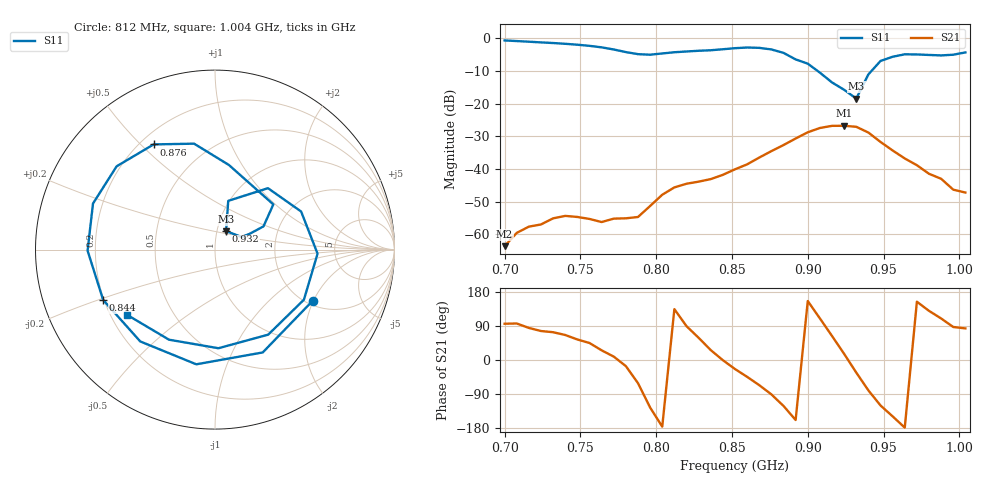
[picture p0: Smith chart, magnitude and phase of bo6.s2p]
# Hz S RI R 50
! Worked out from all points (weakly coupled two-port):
!   39 points, 700 MHz to 1.004 GHz, reference 50 ohm
!   highest |S21| = -26.76 dB at 924 MHz (marker M1); lowest = -63.6 dB at 700 MHz (marker M2)
!   lowest |S11| = -18.4 dB at 932 MHz (marker M3), VSWR 1.27, Z = 55.3 + j11.6 ohm
!   |S11| at or under -10 dB: 906.6 MHz to 942 MHz (35.34 MHz wide, 3.82 % of centre)
!   S12 and S22 are empty: the file has one direction only
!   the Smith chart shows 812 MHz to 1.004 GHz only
!   S11 on the Smith chart (normalised r, x): 812 MHz: 2.16, -1.98; 844 MHz: 0.20, -0.21; 876 MHz: 0.25, +0.55; 932 MHz: 1.11, +0.23; 1.004 GHz: 0.27, -0.31
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7e8  0.7668 0.5295  -6.53e-05 0.000655  0 0  0 0
7.24e8  0.8299 -0.2618  0.000331 0.00138  0 0  0 0
7.4e8  0.4436 -0.6995  0.000779 0.00175  0 0  0 0
7.56e8  -0.1952 -0.7456  0.00122 0.00121  0 0  0 0
7.72e8  -0.6497 -0.193  0.00172 0.00027  0 0  0 0
7.8e8  -0.5755 0.2257  0.00169 -0.000488  0 0  0 0
7.88e8  -0.2314 0.5263  0.000889 -0.00161  0 0  0 0
7.96e8  0.2461 0.5073  -0.00157 -0.00221  0 0  0 0
8.04e8  0.5665 0.1612  -0.00403 -0.00029  0 0  0 0
8.12e8  0.5448 -0.2846  -0.00365 0.00375  0 0  0 0
8.28e8  -0.1044 -0.6391  0.00334 0.00547  0 0  0 0
8.44e8  -0.6231 -0.2805  0.00815 -7.1e-05  0 0  0 0
8.52e8  -0.7098 -0.00599  0.00906 -0.00401  0 0  0 0
8.76e8  -0.3423 0.586  -0.000241 -0.0188  0 0  0 0
9e8  0.325 0.2518  -0.0333 0.0151  0 0  0 0
9.08e8  0.2702 0.1293  -0.0144 0.04  0 0  0 0
9.24e8  0.1475 0.0706  0.0441 0.0128  0 0  0 0
9.32e8  0.0618 0.1029  0.0371 -0.0243  0 0  0 0
9.48e8  0.2951 0.3422  -0.013 -0.0225  0 0  0 0
9.56e8  0.4798 0.2123  -0.0164 -0.00998  0 0  0 0
9.8e8  0.2965 -0.4738  -0.00539 0.00651  0 0  0 0
1.004e9  -0.4925 -0.362  0.000503 0.00433  0 0  0 0
